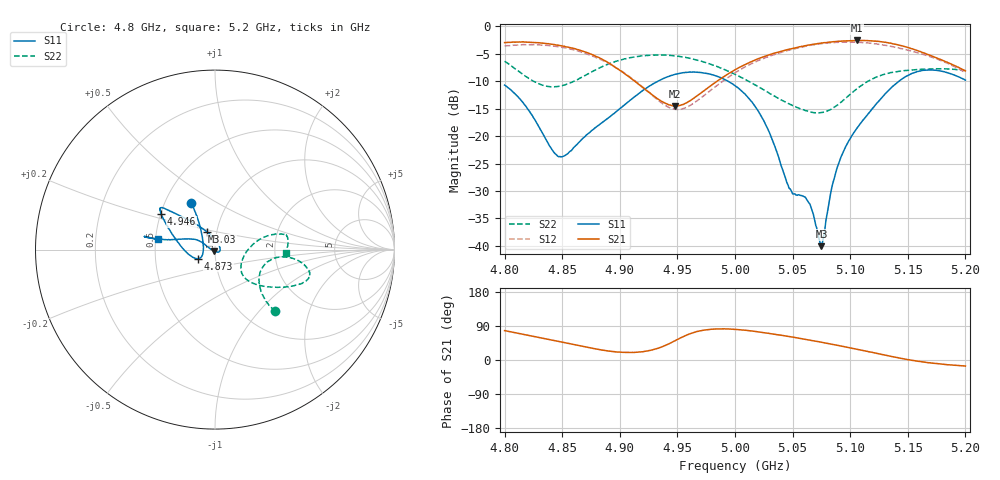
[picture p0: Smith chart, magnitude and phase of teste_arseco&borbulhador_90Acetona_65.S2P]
! Network Analyzer HP8722D
! Hewlett-Packard
! Data name: Linha & Wilkinson
! Saver's name: Rodrigo Anjos
! Comments: Teste da utilização de aquisição
! continua pelo VNA HP8722D
! Time and date: 17/4/2025 11:35
!  Frequency  S11  S21  S12  S22
# HZ  S  MA R 50
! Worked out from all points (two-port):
!   401 points, 4.8 GHz to 5.2 GHz, reference 50 ohm
!   highest |S21| = -2.59 dB at 5.106 GHz (marker M1); lowest = -14.5 dB at 4.948 GHz (marker M2)
!   |S21| within 3 dB of the highest: start of sweep to 4.88 GHz; 5.024 GHz to 5.173 GHz (148.4 MHz wide, 2.91 % of centre)
!   lowest |S11| = -40.0 dB at 5.075 GHz (marker M3), VSWR 1.02, Z = 49.5 - j0.879 ohm
!   |S11| at or under -10 dB: start of sweep to 4.933 GHz; 4.994 GHz to 5.142 GHz (148.5 MHz wide, 2.93 % of centre)
!   |S22| runs from -15.8 to -5.2 dB; largest |S21 - S12| = 1
!   S11 on the Smith chart (normalised r, x): 4.8 GHz: 0.68, +0.38; 4.873 GHz: 0.82, -0.08; 4.946 GHz: 0.50, +0.23; 5.03 GHz: 0.90, +0.18; 5.2 GHz: 0.52, +0.07
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4.8e9  0.2915 117.1  0.7101 77.6  0.6615 -16.0  0.4795 -45.8
4.818e9  0.1895 119.8  0.7174 66.5  0.6791 -24.1  0.3512 -42.5
4.845e9  0.06755 164.2  0.6741 50.1  0.6543 -36.9  0.2822 -21.4
4.867e9  0.09336 -150.4  0.5985 36.4  0.5804 -48.0  0.3433 -7.5
4.873e9  0.1064 -151.6  0.5681 32.8  0.5508 -51.0  0.371 -6.3
4.903e9  0.1884 175.0  0.3775 20.2  0.3816 -63.1  0.5004 -9.5
4.934e9  0.3195 151.1  0.2147 31.7  0.2095 -55.8  0.545 -15.7
4.946e9  0.3596 146.5  0.1891 47.9  0.1772 -39.7  0.5392 -18.4
4.948e9  0.3652 146.0  0.1878 50.9  0.175 -36.3  0.5363 -18.8
4.975e9  0.3725 141.4  0.268 79.7  0.2426 -2.4  0.4654 -26.2
5e9  0.2884 137.1  0.4006 80.8  0.377 3.4  0.3647 -34.6
5.017e9  0.1897 128.4  0.4909 75.6  0.4695 0.1  0.2938 -40.8
5.03e9  0.107 113.9  0.5501 69.9  0.5325 -3.9  0.2445 -43.5
5.048e9  0.03292 46.4  0.6198 61.5  0.6101 -10.9  0.194 -40.5
5.061e9  0.02779 -21.0  0.6652 54.6  0.6571 -17.1  0.1709 -32.1
5.067e9  0.02082 -42.6  0.6832 51.4  0.676 -20.2  0.1643 -26.3
5.075e9  0.009953 -116.9  0.7035 46.9  0.6953 -24.7  0.1638 -16.0
5.089e9  0.05277 155.6  0.7286 38.7  0.7131 -33.3  0.192 2.6
5.106e9  0.1185 152.3  0.7424 28.3  0.7146 -44.3  0.2701 13.7
5.134e9  0.265 167.8  0.7026 10.5  0.6599 -61.4  0.3755 13.3
5.163e9  0.3965 169.6  0.5755 -5.0  0.556 -74.4  0.4056 11.3
5.2e9  0.323 169.4  0.3916 -16.0  0.3781 -84.4  0.3952 -2.5
